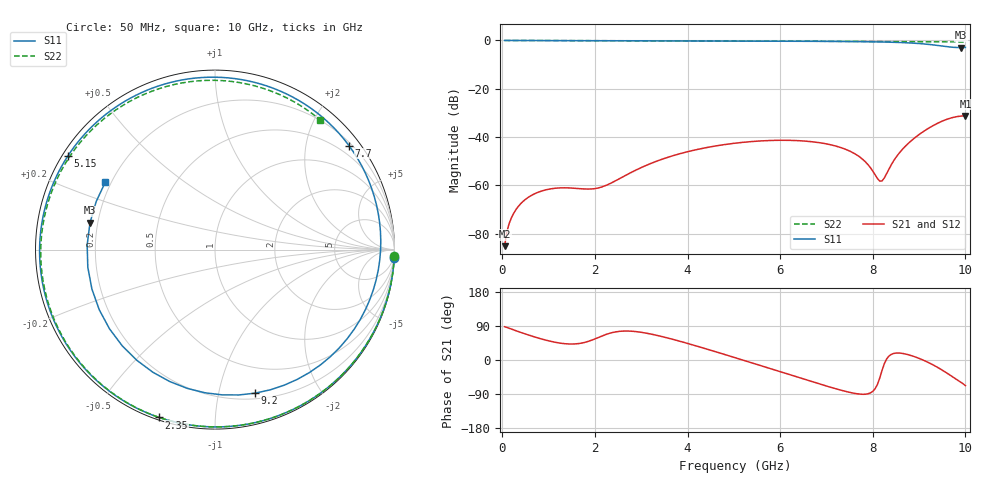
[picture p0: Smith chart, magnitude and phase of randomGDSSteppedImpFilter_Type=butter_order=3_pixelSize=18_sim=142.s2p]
! freq	dB(S11)	phase(S11)	dB(S12)	phase(S12)
!  dB(S21)	phase(S21)	dB(S22)	phase(S22)
!S-par simulation data
#  GHz  S  DB  R 50
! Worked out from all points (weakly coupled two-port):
!   200 points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, 50 MHz to 10 GHz, reference 50 ohm
!   highest |S21| = -31.22 dB at 10 GHz (marker M1); lowest = -85.2 dB at 50 MHz (marker M2)
!   lowest |S11| = -2.9 dB at 9.9 GHz (marker M3), VSWR 5.95, Z = 8.49 + j5.17 ohm
!   |S11| at or under -10 dB: nowhere
!   |S22| runs from -0.6 to 0.0 dB; largest |S21 - S12| = 0
!   S11 on the Smith chart (normalised r, x): 50 MHz: 0, -45; 2.35 GHz: 0.01, -0.72; 5.15 GHz: 0.02, +0.29; 7.7 GHz: 0.27, +2.89; 9.2 GHz: 0.25, -1.29; 10 GHz: 0.18, +0.28
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0.05  -0.00 -2.5  -85.21 87.9  -85.21 87.9  -0.00 -1.9
0.3  -0.02 -15.1  -69.91 76.9  -69.91 76.9  -0.01 -11.4
0.65  -0.04 -32.3  -63.96 62.6  -63.96 62.6  -0.03 -24.6
1.2  -0.07 -58.6  -61.12 45.5  -61.12 45.5  -0.05 -44.7
1.75  -0.10 -83.3  -61.49 45.5  -61.49 45.5  -0.08 -64.1
2.35  -0.12 -108.5  -59.07 71.6  -59.07 71.6  -0.10 -84.0
3.4  -0.16 -148.8  -49.54 63.3  -49.54 63.3  -0.14 -116.1
4.2  -0.20 -177.8  -45.19 36.7  -45.19 36.7  -0.17 -138.7
5.05  -0.24 151.4  -42.50 5.3  -42.50 5.3  -0.21 -161.6
5.15  -0.25 147.7  -42.29 1.5  -42.29 1.5  -0.22 -164.3
6  -0.30 115.0  -41.35 -30.9  -41.35 -30.9  -0.27 173.2
6.7  -0.36 85.8  -41.98 -57.6  -41.98 -57.6  -0.32 154.2
7.2  -0.41 62.9  -43.73 -75.9  -43.73 -75.9  -0.36 140.2
7.7  -0.49 37.8  -48.01 -89.8  -48.01 -89.8  -0.41 125.7
8.15  -0.62 12.4  -58.24 -47.7  -58.24 -47.7  -0.45 112.1
8.35  -0.70 -0.3  -53.23 10.4  -53.23 10.4  -0.46 105.9
8.8  -1.03 -33.9  -42.06 12.8  -42.06 12.8  -0.50 91.6
9.2  -1.61 -74.4  -36.41 -6.6  -36.41 -6.6  -0.54 78.4
9.55  -2.44 -125.2  -33.02 -30.5  -33.02 -30.5  -0.58 66.6
9.75  -2.85 -162.2  -31.80 -46.5  -31.80 -46.5  -0.60 59.7
9.9  -2.95 167.8  -31.32 -58.7  -31.32 -58.7  -0.62 54.5
10  -2.88 148.2  -31.22 -67.6  -31.22 -67.6  -0.63 51.1
